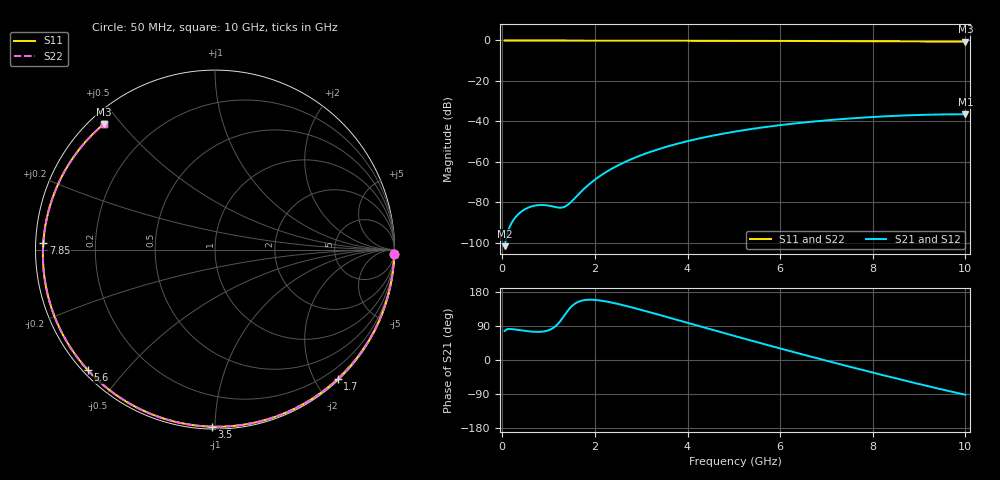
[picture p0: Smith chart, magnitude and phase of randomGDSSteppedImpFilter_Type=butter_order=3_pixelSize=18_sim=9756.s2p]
! freq	dB(S11)	phase(S11)	dB(S12)	phase(S12)
!  dB(S21)	phase(S21)	dB(S22)	phase(S22)
!S-par simulation data
#  GHz  S  DB  R 50
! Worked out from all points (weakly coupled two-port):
!   200 points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, 50 MHz to 10 GHz, reference 50 ohm
!   highest |S21| = -36.46 dB at 10 GHz (marker M1); lowest = -101.7 dB at 50 MHz (marker M2)
!   lowest |S11| = -0.6 dB at 10 GHz (marker M3), VSWR 29.49, Z = 2.04 + j22.5 ohm
!   |S11| at or under -10 dB: nowhere
!   |S22| runs from -0.6 to 0.0 dB; largest |S21 - S12| = 0
!   S11 on the Smith chart (normalised r, x): 50 MHz: 2, -85; 1.7 GHz: 0.02, -2.32; 3.5 GHz: 0.01, -0.98; 5.6 GHz: 0.01, -0.40; 7.85 GHz: 0.02, +0.02; 10 GHz: 0.04, +0.45
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0.05  -0.01 -1.4  -101.65 76.7  -101.65 76.7  -0.01 -1.4
0.7  -0.03 -19.5  -81.63 74.4  -81.63 74.4  -0.03 -19.5
1.05  -0.04 -29.1  -81.83 81.1  -81.83 81.1  -0.04 -29.1
1.45  -0.05 -39.9  -80.54 135.4  -80.54 135.4  -0.05 -40.0
1.5  -0.05 -41.3  -79.46 141.9  -79.46 141.9  -0.05 -41.3
1.7  -0.06 -46.6  -74.76 156.2  -74.76 156.2  -0.06 -46.6
1.75  -0.06 -47.9  -73.64 157.6  -73.64 157.6  -0.06 -47.9
2.05  -0.07 -55.7  -67.95 158.0  -67.95 158.0  -0.07 -55.7
2.45  -0.08 -65.8  -62.31 149.2  -62.31 149.2  -0.08 -65.9
2.9  -0.10 -76.9  -57.58 135.5  -57.58 135.5  -0.10 -76.9
3.4  -0.11 -88.8  -53.54 118.8  -53.54 118.8  -0.11 -88.8
3.5  -0.12 -91.1  -52.84 115.4  -52.84 115.4  -0.12 -91.1
4.25  -0.14 -108.0  -48.44 89.5  -48.44 89.5  -0.14 -108.1
5.05  -0.18 -125.2  -44.94 62.2  -44.94 62.2  -0.18 -125.2
5.6  -0.21 -136.6  -43.03 43.7  -43.03 43.7  -0.21 -136.6
6.15  -0.24 -147.8  -41.44 25.5  -41.44 25.5  -0.24 -147.8
6.7  -0.28 -158.9  -40.11 7.7  -40.11 7.7  -0.28 -158.9
7.3  -0.33 -170.9  -38.91 -11.4  -38.91 -11.4  -0.33 -170.9
7.85  -0.38 177.9  -38.03 -28.6  -38.03 -28.6  -0.38 177.9
8.35  -0.42 167.6  -37.39 -43.9  -37.39 -43.9  -0.42 167.6
9.15  -0.50 150.6  -36.72 -67.8  -36.72 -67.8  -0.50 150.6
10  -0.59 131.5  -36.46 -91.7  -36.46 -91.7  -0.59 131.5
